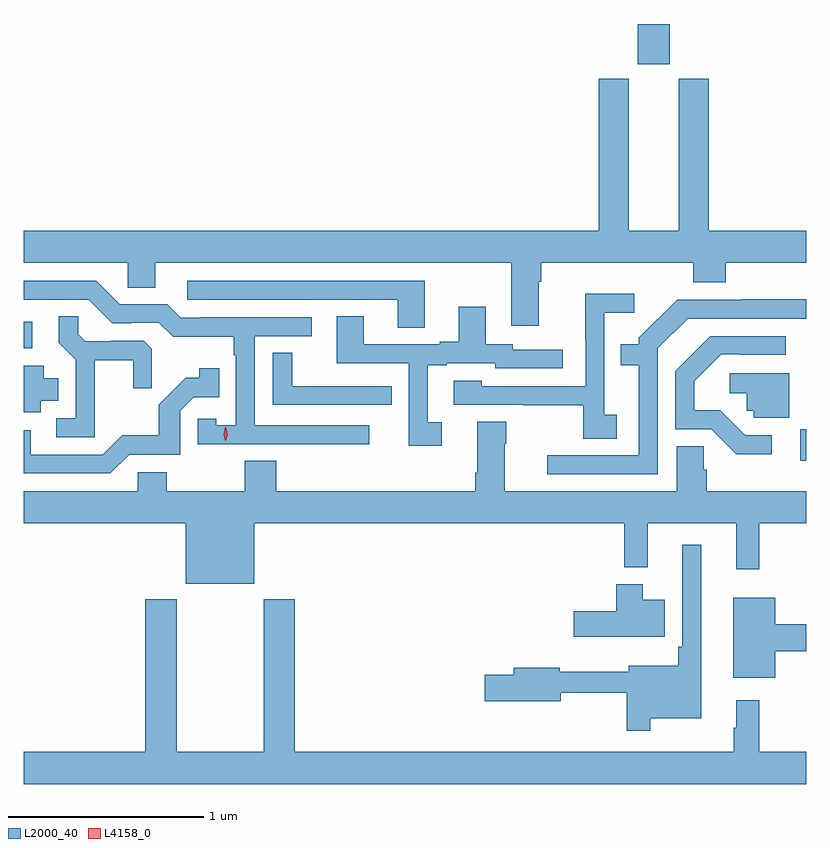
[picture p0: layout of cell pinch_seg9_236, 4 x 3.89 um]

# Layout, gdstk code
import gdstk
lib = gdstk.Library(unit=1e-6, precision=1e-09)
def R(c, l, rs):  # rectangles x0, y0, x1, y1
    for r in rs: c.add(gdstk.rectangle(r[:2], r[2:], *l))
def P(c, l, *ps):  # polygons
    for p in ps: c.add(gdstk.Polygon(p, *l))
L2000_40 = (2000, 40)
L4158_0 = (4158, 0)

pinch_seg9_236 = lib.new_cell('pinch_seg9_236')
R(pinch_seg9_236, L2000_40, [(428.465,1246.026,428.496,1246.186), (424.496,1246.599,424.54,1246.735), (427.634,1248.051,427.798,1248.258)])
P(pinch_seg9_236, L2000_40, [(427.129,1246.94),(427.142,1246.94),(427.142,1247.036),(427.919,1247.036),(427.919,1246.937),(428.084,1246.937),(428.084,1247.036),(428.496,1247.036),(428.496,1247.2),(427.997,1247.2),(427.997,1247.979),(427.844,1247.979),(427.844,1247.2),(427.588,1247.2),(427.588,1247.979),(427.436,1247.979),(427.436,1247.2),(424.496,1247.2),(424.496,1247.036),(425.028,1247.036),(425.028,1246.909),(425.167,1246.909),(425.167,1247.036),(426.989,1247.036),(426.989,1246.716),(427.129,1246.716)],
  [(426.547,1246.944),(425.331,1246.944),(425.331,1246.848),(426.407,1246.848),(426.407,1246.705),(426.547,1246.705)],
  [(426.262,1246.206),(425.676,1246.206),(425.676,1246.662),(425.968,1246.662),(425.968,1246.758),(425.398,1246.758),(425.398,1246.755),(425.298,1246.755),(425.229,1246.824),(424.986,1246.824),(424.866,1246.944),(424.496,1246.944),(424.496,1246.848),(424.827,1246.848),(424.947,1246.728),(425.048,1246.728),(425.048,1246.731),(425.187,1246.731),(425.26,1246.658),(425.568,1246.658),(425.568,1246.565),(425.58,1246.565),(425.58,1246.207),(425.481,1246.207),(425.481,1246.239),(425.385,1246.239),(425.385,1246.11),(425.869,1246.11),(425.869,1246.108),(426.262,1246.108)],
  [(427.528,1246.26),(427.464,1246.26),(427.464,1246.781),(427.618,1246.781),(427.618,1246.879),(427.366,1246.879),(427.366,1246.64),(427.368,1246.64),(427.368,1246.407),(426.837,1246.407),(426.837,1246.435),(426.693,1246.435),(426.693,1246.311),(427.051,1246.311),(427.051,1246.309),(427.356,1246.309),(427.356,1246.138),(427.528,1246.138)],
  [(427.737,1246.599),(427.89,1246.752),(428.496,1246.752),(428.496,1246.85),(428.167,1246.85),(428.167,1246.848),(427.836,1246.848),(427.641,1246.653),(427.641,1246.621),(427.549,1246.621),(427.549,1246.512),(427.64,1246.512),(427.64,1246.053),(427.173,1246.053),(427.173,1245.957),(427.737,1245.957)],
  [(426.634,1246.221),(426.562,1246.221),(426.562,1246.512),(426.658,1246.512),(426.658,1246.524),(426.906,1246.524),(426.906,1246.497),(427.252,1246.497),(427.252,1246.593),(426.996,1246.593),(426.996,1246.62),(426.859,1246.62),(426.859,1246.813),(426.719,1246.813),(426.719,1246.633),(426.623,1246.633),(426.623,1246.62),(426.235,1246.62),(426.235,1246.763),(426.095,1246.763),(426.095,1246.524),(426.465,1246.524),(426.465,1246.101),(426.634,1246.101)],
  [(424.859,1246.538),(425.056,1246.538),(425.056,1246.395),(425.15,1246.395),(425.15,1246.597),(425.109,1246.638),(424.944,1246.638),(424.944,1246.635),(424.81,1246.635),(424.773,1246.672),(424.773,1246.763),(424.675,1246.763),(424.675,1246.627),(424.761,1246.541),(424.761,1246.242),(424.662,1246.242),(424.662,1246.146),(424.859,1246.146)],
  [(428.32,1246.155),(428.184,1246.155),(428.057,1246.282),(427.924,1246.282),(427.924,1246.432),(428.061,1246.569),(428.161,1246.569),(428.161,1246.566),(428.392,1246.566),(428.392,1246.662),(428.006,1246.662),(427.827,1246.483),(427.827,1246.185),(428.01,1246.185),(428.138,1246.058),(428.32,1246.058)],
  [(426.376,1246.406),(426.263,1246.406),(426.263,1246.407),(425.868,1246.407),(425.868,1246.577),(425.769,1246.577),(425.769,1246.311),(426.376,1246.311)],
  [(424.582,1246.331),(424.672,1246.331),(424.672,1246.447),(424.597,1246.447),(424.597,1246.51),(424.496,1246.51),(424.496,1246.274),(424.582,1246.274)],
  [(425.034,1246.056),(425.295,1246.056),(425.295,1246.281),(425.364,1246.35),(425.495,1246.35),(425.495,1246.498),(425.394,1246.498),(425.394,1246.448),(425.324,1246.448),(425.187,1246.31),(425.187,1246.155),(424.998,1246.155),(424.899,1246.056),(424.531,1246.056),(424.531,1246.182),(424.496,1246.182),(424.496,1245.96),(424.938,1245.96)],
  [(428.41,1246.473),(428.106,1246.473),(428.106,1246.37),(428.193,1246.37),(428.193,1246.281),(428.229,1246.281),(428.229,1246.245),(428.41,1246.245)],
  [(425.674,1245.704),(427.567,1245.704),(427.567,1245.479),(427.685,1245.479),(427.685,1245.704),(428.138,1245.704),(428.138,1245.471),(428.255,1245.471),(428.255,1245.704),(428.496,1245.704),(428.496,1245.868),(427.988,1245.868),(427.988,1245.978),(427.973,1245.978),(427.973,1246.1),(427.835,1246.1),(427.835,1245.868),(426.955,1245.868),(426.955,1246.112),(426.963,1246.112),(426.963,1246.225),(426.815,1246.225),(426.815,1245.964),(426.803,1245.964),(426.803,1245.868),(425.786,1245.868),(425.786,1246.025),(425.626,1246.025),(425.626,1245.868),(425.226,1245.868),(425.226,1245.966),(425.079,1245.966),(425.079,1245.868),(424.496,1245.868),(424.496,1245.704),(425.324,1245.704),(425.324,1245.395),(425.674,1245.395)],
  [(427.699,1244.708),(427.96,1244.708),(427.96,1245.595),(427.863,1245.595),(427.863,1245.073),(427.843,1245.073),(427.843,1244.977),(427.589,1244.977),(427.589,1244.947),(427.236,1244.947),(427.236,1244.966),(427.001,1244.966),(427.001,1244.93),(426.852,1244.93),(426.852,1244.795),(427.24,1244.795),(427.24,1244.838),(427.578,1244.838),(427.578,1244.643),(427.699,1244.643)],
  [(427.774,1245.313),(427.66,1245.313),(427.66,1245.394),(427.526,1245.394),(427.526,1245.255),(427.308,1245.255),(427.308,1245.125),(427.774,1245.125)],
  [(428.338,1245.052),(428.496,1245.052),(428.496,1245.188),(428.338,1245.188),(428.338,1245.325),(428.123,1245.325),(428.123,1244.915),(428.338,1244.915)],
  [(428.496,1244.536),(428.255,1244.536),(428.255,1244.8),(428.138,1244.8),(428.138,1244.66),(428.127,1244.66),(428.127,1244.536),(425.882,1244.536),(425.882,1245.316),(425.722,1245.316),(425.722,1244.536),(425.277,1244.536),(425.277,1245.316),(425.117,1245.316),(425.117,1244.536),(424.496,1244.536),(424.496,1244.372),(428.496,1244.372)])
P(pinch_seg9_236, L4158_0, [(425.527,1246.126),(425.518,1246.161),(425.527,1246.197),(425.528,1246.197),(425.528,1246.197),(425.538,1246.161),(425.528,1246.126),(425.528,1246.126)])

lib.write_gds('pinch_seg9_236.gds')
